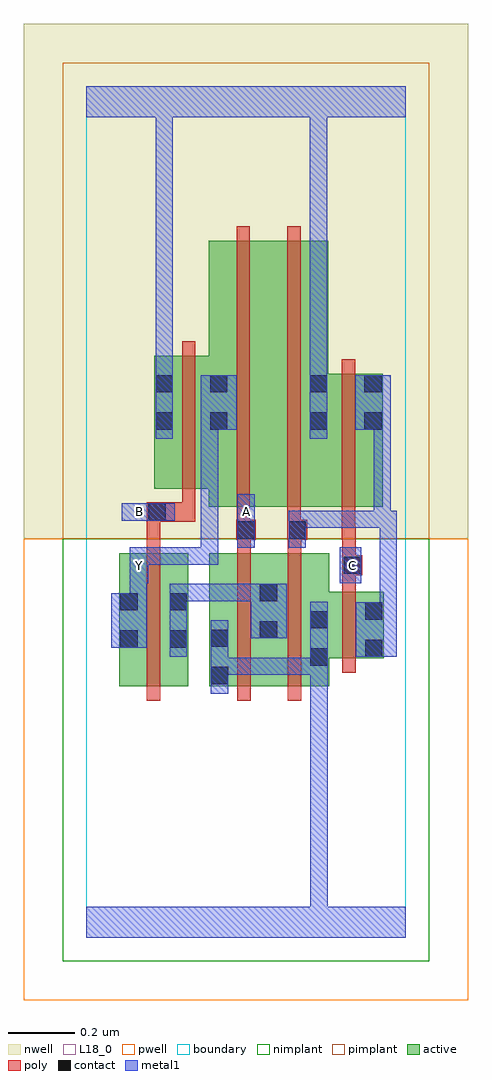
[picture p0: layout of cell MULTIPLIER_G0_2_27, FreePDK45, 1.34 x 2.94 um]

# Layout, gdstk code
import gdstk
lib = gdstk.Library(unit=1e-6, precision=1e-09)
def R(c, l, rs):  # rectangles x0, y0, x1, y1
    for r in rs: c.add(gdstk.rectangle(r[:2], r[2:], *l))
active = (1, 0)
pwell = (2, 0)
nwell = (3, 0)
nimplant = (4, 0)
pimplant = (5, 0)
poly = (9, 0)
contact = (10, 0)
metal1 = (11, 0)
L18_0 = (18, 0)
boundary = (235, 0)

multiplier_g0_2_27 = lib.new_cell('MULTIPLIER_G0_2_27')
R(multiplier_g0_2_27, active, [(0.098,0.756,0.158,1.156), (0.098,0.756,0.306,1.156), (0.246,0.756,0.306,1.156), (0.37,0.756,0.43,1.156), (0.37,0.756,0.578,1.156), (0.518,0.756,0.73,1.156), (0.518,0.756,0.578,1.156), (0.67,0.756,0.73,1.04), (0.67,0.84,0.894,1.04), (0.834,0.84,0.894,1.04), (0.368,1.296,0.548,2.096), (0.548,1.296,0.728,2.096), (0.668,1.296,0.728,1.696), (0.668,1.296,0.892,1.696), (0.832,1.296,0.892,1.696), (0.204,1.35,0.428,1.75), (0.204,1.35,0.264,1.696), (0.368,1.35,0.428,1.696)])
R(multiplier_g0_2_27, pwell, [(-0.188,-0.188,1.148,1.2)])
R(multiplier_g0_2_27, nwell, [(-0.188,1.2,1.148,2.748)])
R(multiplier_g0_2_27, nimplant, [(-0.072,-0.072,1.032,1.2)])
R(multiplier_g0_2_27, pimplant, [(-0.072,1.2,1.032,2.632)])
R(multiplier_g0_2_27, poly, [(0.182,0.712,0.222,1.2), (0.454,0.712,0.494,1.2), (0.606,0.712,0.646,1.2), (0.77,0.796,0.81,1.084), (0.77,1.044,0.81,1.13), (0.77,1.09,0.83,1.15), (0.77,1.11,0.81,1.236), (0.182,1.16,0.222,1.29), (0.454,1.16,0.494,1.236), (0.606,1.16,0.646,1.236), (0.45,1.196,0.51,1.256), (0.454,1.196,0.494,1.236), (0.454,1.196,0.494,1.236), (0.604,1.196,0.664,1.256), (0.606,1.196,0.646,1.236), (0.606,1.196,0.646,1.236), (0.768,1.196,0.808,1.292), (0.768,1.196,0.81,1.236), (0.452,1.216,0.492,1.292), (0.604,1.216,0.644,1.292), (0.182,1.25,0.222,1.29), (0.182,1.25,0.222,1.29), (0.182,1.25,0.328,1.31), (0.452,1.252,0.492,2.14), (0.604,1.252,0.644,2.14), (0.768,1.252,0.808,1.74), (0.288,1.27,0.328,1.346), (0.288,1.306,0.328,1.794)])
R(multiplier_g0_2_27, contact, [(0.374,0.762,0.426,0.814), (0.674,0.818,0.726,0.87), (0.838,0.844,0.89,0.896), (0.102,0.872,0.154,0.924), (0.25,0.872,0.302,0.924), (0.374,0.874,0.426,0.926), (0.522,0.9,0.574,0.952), (0.674,0.93,0.726,0.982), (0.838,0.956,0.89,1.008), (0.102,0.984,0.154,1.036), (0.25,0.984,0.302,1.036), (0.522,1.012,0.574,1.064), (0.774,1.094,0.826,1.146), (0.454,1.2,0.506,1.252), (0.608,1.2,0.66,1.252), (0.186,1.254,0.238,1.306), (0.208,1.528,0.26,1.58), (0.372,1.528,0.424,1.58), (0.672,1.528,0.724,1.58), (0.836,1.528,0.888,1.58), (0.208,1.64,0.26,1.692), (0.372,1.64,0.424,1.692), (0.672,1.64,0.724,1.692), (0.836,1.64,0.888,1.692)])
R(multiplier_g0_2_27, metal1, [(0,0,0.96,0.092), (0.674,0.04,0.726,0.092), (0.674,0.04,0.726,0.092), (0.674,0.04,0.726,0.092), (0.674,0.04,0.726,0.092), (0.674,0.04,0.726,0.092), (0.674,0.04,0.726,0.092), (0.674,0.04,0.726,0.092), (0.674,0.04,0.726,0.092), (0.674,0.04,0.726,0.092), (0.674,0.04,0.726,0.092), (0.674,0.04,0.726,0.842), (0.374,0.734,0.426,0.954), (0.374,0.79,0.536,0.842), (0.484,0.79,0.536,0.842), (0.484,0.79,0.536,0.842), (0.484,0.79,0.536,0.842), (0.484,0.79,0.704,0.842), (0.652,0.79,0.704,0.842), (0.652,0.79,0.726,0.842), (0.674,0.79,0.726,0.842), (0.674,0.79,0.726,0.842), (0.674,0.79,0.726,1.01), (0.25,0.844,0.302,1.064), (0.81,0.844,0.934,1.008), (0.074,0.872,0.182,1.036), (0.494,0.9,0.602,1.064), (0.882,0.956,0.934,1.284), (0.13,0.984,0.182,1.118), (0.25,1.012,0.426,1.064), (0.374,1.012,0.426,1.064), (0.374,1.012,0.426,1.064), (0.374,1.012,0.426,1.064), (0.374,1.012,0.546,1.064), (0.13,1.066,0.186,1.174), (0.762,1.066,0.826,1.174), (0.134,1.122,0.316,1.174), (0.264,1.122,0.316,1.174), (0.264,1.122,0.396,1.174), (0.344,1.122,0.396,1.174), (0.344,1.122,0.396,1.174), (0.344,1.122,0.396,1.174), (0.344,1.122,0.396,1.58), (0.454,1.172,0.506,1.334), (0.608,1.172,0.66,1.28), (0.608,1.228,0.66,1.28), (0.608,1.228,0.66,1.284), (0.608,1.232,0.916,1.284), (0.864,1.232,0.916,1.58), (0.864,1.232,0.916,1.284), (0.864,1.232,0.916,1.284), (0.864,1.232,0.934,1.284), (0.882,1.232,0.934,1.284), (0.882,1.232,0.934,1.284), (0.106,1.254,0.266,1.306), (0.208,1.5,0.26,1.72), (0.672,1.5,0.724,1.72), (0.344,1.528,0.452,1.692), (0.808,1.528,0.916,1.692), (0.208,1.668,0.26,1.72), (0.208,1.668,0.26,1.72), (0.208,1.668,0.26,1.72), (0.208,1.668,0.26,1.72), (0.208,1.668,0.26,1.72), (0.208,1.668,0.26,1.72), (0.208,1.668,0.26,1.72), (0.208,1.668,0.26,1.72), (0.208,1.668,0.26,1.72), (0.208,1.668,0.26,1.72), (0.208,1.668,0.26,1.72), (0.208,1.668,0.26,1.72), (0.208,1.668,0.26,1.72), (0.208,1.668,0.26,1.72), (0.208,1.668,0.26,1.72), (0.208,1.668,0.26,1.72), (0.208,1.668,0.26,2.52), (0.672,1.668,0.724,1.72), (0.672,1.668,0.724,1.72), (0.672,1.668,0.724,1.72), (0.672,1.668,0.724,1.72), (0.672,1.668,0.724,2.52), (0,2.468,0.96,2.56), (0.672,2.468,0.724,2.52), (0.672,2.468,0.724,2.52), (0.672,2.468,0.724,2.52), (0.672,2.468,0.724,2.52)])
R(multiplier_g0_2_27, L18_0, [(0,0,0.96,0.092), (0.674,0.04,0.726,0.092), (0.674,0.04,0.726,0.092), (0.674,0.04,0.726,0.092), (0.674,0.04,0.726,0.092), (0.674,0.04,0.726,0.092), (0.674,0.04,0.726,0.092), (0.674,0.04,0.726,0.092), (0.674,0.04,0.726,0.092), (0.674,0.04,0.726,0.092), (0.674,0.04,0.726,0.092), (0.674,0.04,0.726,0.842), (0.374,0.734,0.426,0.954), (0.374,0.79,0.536,0.842), (0.484,0.79,0.536,0.842), (0.484,0.79,0.536,0.842), (0.484,0.79,0.536,0.842), (0.484,0.79,0.704,0.842), (0.652,0.79,0.704,0.842), (0.652,0.79,0.726,0.842), (0.674,0.79,0.726,1.01), (0.674,0.79,0.726,0.842), (0.674,0.79,0.726,0.842), (0.074,0.872,0.182,1.036), (0.13,0.984,0.182,1.118), (0.13,1.066,0.186,1.174), (0.762,1.066,0.826,1.174), (0.134,1.094,0.186,1.146), (0.774,1.094,0.826,1.146), (0.134,1.122,0.316,1.174), (0.264,1.122,0.316,1.174), (0.264,1.122,0.396,1.174), (0.344,1.122,0.396,1.174), (0.344,1.122,0.396,1.174), (0.344,1.122,0.396,1.174), (0.344,1.122,0.396,1.58), (0.454,1.172,0.506,1.334), (0.106,1.254,0.266,1.306), (0.134,1.254,0.186,1.306), (0.454,1.254,0.506,1.306), (0.208,1.5,0.26,1.72), (0.672,1.5,0.724,1.72), (0.344,1.528,0.452,1.692), (0.208,1.668,0.26,1.72), (0.208,1.668,0.26,1.72), (0.208,1.668,0.26,1.72), (0.208,1.668,0.26,1.72), (0.208,1.668,0.26,1.72), (0.208,1.668,0.26,1.72), (0.208,1.668,0.26,1.72), (0.208,1.668,0.26,1.72), (0.208,1.668,0.26,1.72), (0.208,1.668,0.26,1.72), (0.208,1.668,0.26,1.72), (0.208,1.668,0.26,1.72), (0.208,1.668,0.26,1.72), (0.208,1.668,0.26,1.72), (0.208,1.668,0.26,1.72), (0.208,1.668,0.26,1.72), (0.208,1.668,0.26,2.52), (0.672,1.668,0.724,1.72), (0.672,1.668,0.724,1.72), (0.672,1.668,0.724,1.72), (0.672,1.668,0.724,1.72), (0.672,1.668,0.724,2.52), (0,2.468,0.96,2.56), (0.672,2.468,0.724,2.52), (0.672,2.468,0.724,2.52), (0.672,2.468,0.724,2.52), (0.672,2.468,0.724,2.52)])
R(multiplier_g0_2_27, boundary, [(0,0,0.96,2.56)])
multiplier_g0_2_27.add(gdstk.Label('A', (0.48,1.28), layer=11, texttype=0))
multiplier_g0_2_27.add(gdstk.Label('B', (0.16,1.28), layer=11, texttype=0))
multiplier_g0_2_27.add(gdstk.Label('C', (0.8,1.12), layer=11, texttype=0))
multiplier_g0_2_27.add(gdstk.Label('Y', (0.16,1.12), layer=11, texttype=0))

lib.write_gds('MULTIPLIER_G0_2_27.gds')
